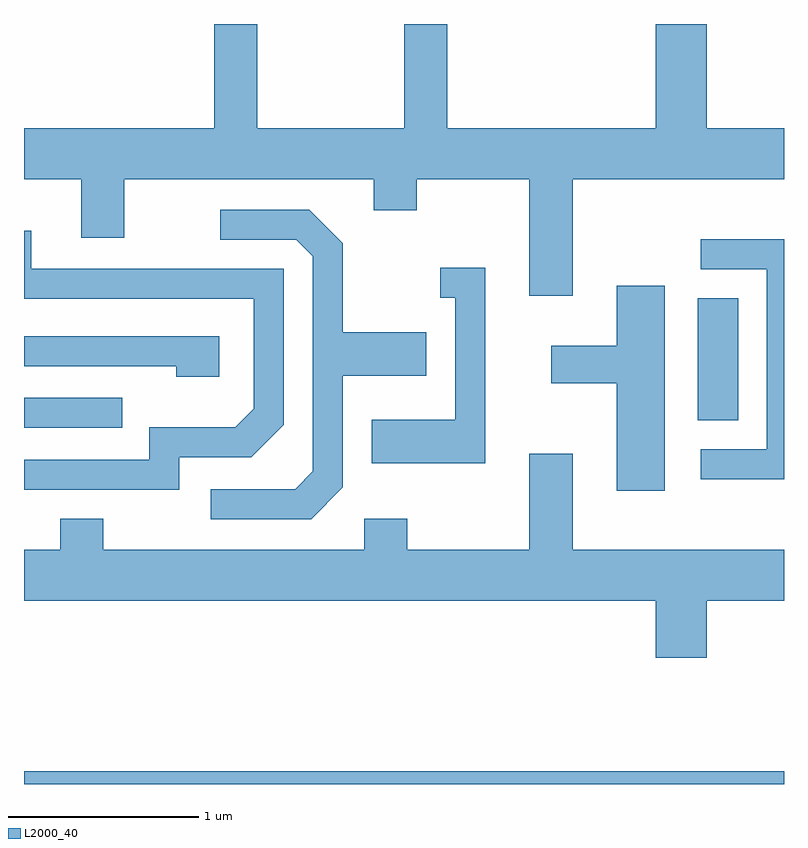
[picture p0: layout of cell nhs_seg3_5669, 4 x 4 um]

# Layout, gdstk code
import gdstk
lib = gdstk.Library(unit=1e-6, precision=1e-09)
def R(c, l, rs):  # rectangles x0, y0, x1, y1
    for r in rs: c.add(gdstk.rectangle(r[:2], r[2:], *l))
def P(c, l, *ps):  # polygons
    for p in ps: c.add(gdstk.Polygon(p, *l))
L2000_40 = (2000, 40)

nhs_seg3_5669 = lib.new_cell('nhs_seg3_5669')
R(nhs_seg3_5669, L2000_40, [(351.611,1173.892,355.611,1173.959), (351.611,1175.766,352.128,1175.924), (355.156,1175.806,355.369,1176.449)])
P(nhs_seg3_5669, L2000_40, [(354.499,1177.076),(355.611,1177.076),(355.611,1177.344),(355.204,1177.344),(355.204,1177.892),(354.936,1177.892),(354.936,1177.344),(353.839,1177.344),(353.839,1177.892),(353.611,1177.892),(353.611,1177.344),(352.839,1177.344),(352.839,1177.892),(352.611,1177.892),(352.611,1177.344),(351.611,1177.344),(351.611,1177.076),(351.911,1177.076),(351.911,1176.766),(352.139,1176.766),(352.139,1177.076),(353.451,1177.076),(353.451,1176.911),(353.679,1176.911),(353.679,1177.076),(354.271,1177.076),(354.271,1176.461),(354.499,1176.461)],
  [(353.289,1175.454),(353.289,1176.041),(353.729,1176.041),(353.729,1176.269),(353.289,1176.269),(353.289,1176.737),(353.112,1176.914),(352.643,1176.914),(352.643,1176.756),(353.044,1176.756),(353.131,1176.669),(353.131,1175.537),(353.039,1175.444),(352.593,1175.444),(352.593,1175.286),(353.122,1175.286)],
  [(352.429,1175.611),(352.807,1175.611),(352.979,1175.784),(352.979,1176.604),(351.649,1176.604),(351.649,1176.803),(351.611,1176.803),(351.611,1176.446),(352.821,1176.446),(352.821,1175.867),(352.724,1175.769),(352.271,1175.769),(352.271,1175.599),(351.611,1175.599),(351.611,1175.441),(352.429,1175.441)],
  [(355.611,1176.759),(355.173,1176.759),(355.173,1176.601),(355.521,1176.601),(355.521,1175.654),(355.173,1175.654),(355.173,1175.496),(355.611,1175.496)],
  [(354.039,1176.609),(353.803,1176.609),(353.803,1176.451),(353.881,1176.451),(353.881,1175.809),(353.441,1175.809),(353.441,1175.581),(354.039,1175.581)],
  [(354.984,1176.514),(354.731,1176.514),(354.731,1176.199),(354.386,1176.199),(354.386,1176.001),(354.731,1176.001),(354.731,1175.436),(354.984,1175.436)],
  [(352.639,1176.249),(351.611,1176.249),(351.611,1176.091),(352.411,1176.091),(352.411,1176.036),(352.639,1176.036)],
  [(355.204,1174.856),(355.611,1174.856),(355.611,1175.124),(354.499,1175.124),(354.499,1175.629),(354.271,1175.629),(354.271,1175.124),(353.629,1175.124),(353.629,1175.289),(353.401,1175.289),(353.401,1175.124),(352.029,1175.124),(352.029,1175.289),(351.801,1175.289),(351.801,1175.124),(351.611,1175.124),(351.611,1174.856),(354.936,1174.856),(354.936,1174.556),(355.204,1174.556)])

lib.write_gds('nhs_seg3_5669.gds')
